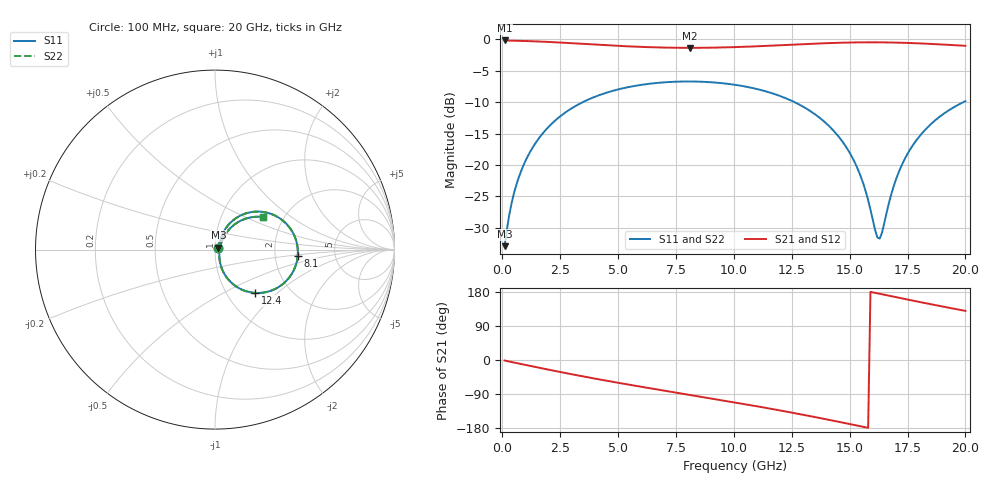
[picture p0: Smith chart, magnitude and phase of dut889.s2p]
! Touchstone file exported from HFSS 2026.1.0
!  File:  C:/ffzhzh/LocalFiles/Ansys_Project_Files/temp_train_TSV_RDL_889_1783274709_30076.aedt
!  Generated:  02:16:51 AM Jul  6, 2026
!  Design:  TSV_RDL
!  Project:  temp_train_TSV_RDL_889_1783274709_30076
! Variables:
!  h_bsmrdl = 4.23um
!  h_ox = 20um
!  h_rdl = 5um
!  h_sub = 90.89um
!  h_tmrdl = 2.8um
!  h_tsv = 90.89um
!  h_via = 3um
!  l_bsmrdl = 631.32um
!  l_sub = 3673.36um
!  l_tmrdl = 308.88um
!  m_sub = 200um
!  pitch = 41.01um
!  r_tsv = 3.98um
!  s_tmrdl = 10um
!  w_bsmrdl = 18.46um
!  w_sub = 500um
!  w_tmrdl = 29.5um
!  x_tsv_center1 = 323.63um
!  x_tsv_center2 = 973.41um
!  x_tsv_center3 = 1311.79um
!  x_tsv_center4 = 1961.57um
!  x_tsv_center5 = 2299.95um
!  x_tsv_center6 = 2949.73um
# GHz S MA R 50.000000
! Terminal data exported
! Port[1] = TM_RDL1_1_T1
! Port[2] = TM_RDL5_1_T1
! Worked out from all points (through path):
!   200 points, 100 MHz to 20 GHz, reference 50 ohm
!   highest |S21| = -0.17 dB at 100 MHz (marker M1); lowest = -1.3 dB at 8.1 GHz (marker M2)
!   group delay of S21, straight-line fit = 31.2 ps
!   lowest |S11| = -32.9 dB at 100 MHz (marker M3), VSWR 1.05, Z = 52 + j1.18 ohm
!   |S11| at or under -10 dB: start of sweep to 3.475 GHz; 12.62 GHz to 19.91 GHz (7.292 GHz wide, 44.8 % of centre)
!   |S22| runs from -32.9 to -6.7 dB; largest |S21 - S12| = 2.7e-14
!   S11 on the Smith chart (normalised r, x): 100 MHz: 1.04, +0.02; 8.1 GHz: 2.69, -0.24; 12.4 GHz: 1.35, -0.73; 20 GHz: 1.57, +0.64
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0.1  0.02252 30.3  0.9808 -1.4  0.9808 -1.4  0.02252 30.3
! Gamma 0 0 0 0
! Port Impedance 50 0 50 0
0.3  0.03987 54.4  0.9785 -4.0  0.9785 -4.0  0.03987 54.4
0.5  0.05901 61.3  0.9762 -6.6  0.9762 -6.6  0.05901 61.3
1.2  0.1269 63.6  0.968 -15.5  0.968 -15.5  0.1269 63.6
2.2  0.2186 55.4  0.9504 -28.0  0.9504 -28.0  0.2186 55.4
3.5  0.3179 41.8  0.921 -43.4  0.921 -43.4  0.3179 41.8
5.1  0.4035 25.1  0.8863 -61.2  0.8863 -61.2  0.4035 25.1
6.8  0.4521 8.2  0.8624 -78.9  0.8624 -78.9  0.4521 8.2
8.1  0.4622 -4.4  0.8566 -92.1  0.8566 -92.1  0.4622 -4.4
10.1  0.4334 -23.8  0.8687 -112.6  0.8687 -112.6  0.4334 -23.8
12.4  0.3302 -47.0  0.9056 -137.7  0.9056 -137.7  0.3302 -47.0
13.4  0.2612 -57.1  0.9236 -149.4  0.9236 -149.4  0.2612 -57.1
14.4  0.1791 -66.3  0.9384 -161.5  0.9384 -161.5  0.1791 -66.3
15.1  0.116 -70.2  0.9452 -170.2  0.9452 -170.2  0.116 -70.2
15.6  0.07003 -67.5  0.9477 -176.5  0.9477 -176.5  0.07002 -67.6
16.2  0.02643 -20.3  0.9478 175.9  0.9478 175.9  0.02636 -20.4
16.4  0.02891 18.6  0.9471 173.4  0.9471 173.4  0.02884 18.7
16.7  0.04989 46.6  0.9454 169.6  0.9454 169.6  0.04984 46.6
17.2  0.09477 55.7  0.9409 163.3  0.9409 163.3  0.09475 55.7
17.9  0.1586 53.7  0.9314 154.6  0.9314 154.6  0.1586 53.7
18.8  0.2351 46.2  0.9148 143.7  0.9148 143.7  0.2351 46.1
20  0.3219 34.4  0.889 129.6  0.889 129.6  0.3219 34.3
